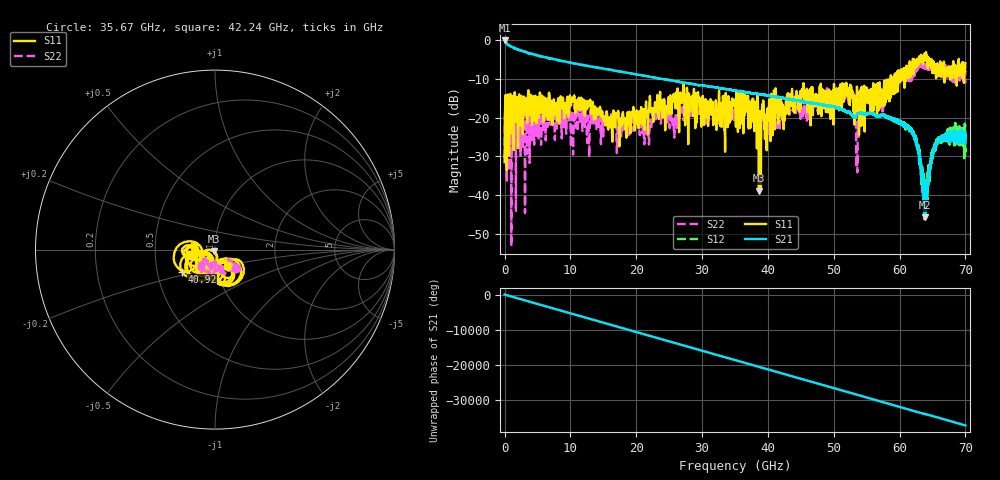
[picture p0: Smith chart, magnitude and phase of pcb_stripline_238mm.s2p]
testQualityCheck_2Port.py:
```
#!/usr/bin/env python3
# -*- coding: utf-8 -*-
"""
Created on Wed Jul  9 17:53:49 2025

@author: dracid
% Copyright (c) 2025, OpenSNPTools authors (See AUTHORS.md)

This is a Python adaptation of Octave code from IEEE 370 code:
https://opensource.ieee.org/elec-char/ieee-370/-/blob/master/TG3/testQualityCheck_2Port.m
% Original MATLAB code copyright (c) 2017, IEEE 370 Open Source Authors (See IEEE370_AUTHORS.md)

SPDX-License-Identifier: BSD-3-Clause
"""

import numpy as np
from fromtouchn import  fromtouchn
from ieee_p370_quality_time_domain import  quality_check
from ieee_p370_quality_freq_domain import  quality_check_frequency_domain

#%% Read Data
# [freq,Sdata,npts] = fromtouchn('./example_touchstone/pcb_stripline_119mm.s2p');
[freq,Sdata,npts] = fromtouchn('./example_touchstone/pcb_stripline_238mm.s2p');

# [freq,Sdata,npts] = fromtouchn('./example_touchstone/CABLE1_TX_pair.s4p');
# [freq,Sdata,npts] = fromtouchn('./example_touchstone/CABLE1_RX_pair.s4p');


# %% Settings
port_num = np.shape(Sdata)[0]; # get numports from the Sparam matrix, assumes all SNP data are square matrices
data_rate = 25.125; #data rate in Gbps
rise_per = 0.4; # rise time - fraction of UI
sample_per_UI = 32;

pulse_shape = 1; #1 is Gaussian; 2 is Rectangular with Butterworth filter; 3 is Rectangular with Gaussian filter;
extrapolation_method = 2; #1 is constant extrapolation; 2 is zero padding;


#%%Time domain checking
# np.set_printoptions(formatter={'float': '{:.6e}'.format}) # makes sure the print happens in scientific notation
# [causality_metric, reciprocity_metric, passivity_metric] = quality_check(freq,Sdata,port_num,data_rate,sample_per_UI,rise_per,pulse_shape,extrapolation_method,1);

# print('\n[causality_metric/2, passivity_metric/2, reciprocity_metric/2]')
# print(causality_metric/2, passivity_metric/2, reciprocity_metric/2)


#%% Frequency domain checking
[causality_metric_freq, reciprocity_metric_freq, passivity_metric_freq] = quality_check_frequency_domain(Sdata,npts,port_num);

print('causality_metric_freq, passivity_metric_freq, reciprocity_metric_freq')
print(causality_metric_freq, passivity_metric_freq, reciprocity_metric_freq)

#%% SCIKIT-RF Checking Frequency domain:
# TODO

#%% SCIKIT-RF Checking Time domain:
# TODO
```
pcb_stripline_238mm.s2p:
! 8/9/2025 3:00:00 PM
! This is a measured stripline on PCB, 238mm in length. Structure: VNA->COAX->stripline->COAX->VNA
! CHANNEL.1
! TR.MEASUREMENT
! CORRECTED.DATA
! RF.CORRECTION: FULL.FOUR.PORT.CAL.PORT.1.2.3.4
! AVERAGING.OFF
! IF.BANDWIDTH: 1KHZ
! SWEEPTYPE:  FREQ.SWEEP(Linear)
! Reference Plane Port Info
! PORT:  PORT1  PORT2
! DISTANCE:  0  m  0  m
! TIME:  0  s  0  s
! PHASE.OFFSET:  0  deg.  0  deg.
! LOSS:  0  dB  0  dB
! REF.LOSS:  0  dB  0  dB
! REF.FREQ:  0  Hz  0  Hz
! Power Info
! POWER:  -10  dBm  -10  dBm
! EFF.POWER:  -10  dBm  -10  dBm
! SOURCE.ATTEN:  0  dB  0  dB
! TEST.ATTEN:  0  dB  0  dB
! PORTZ: Port1:50 Port2:50
# GHZ S RI R 50
! FREQ.GHZ  S11RE  S11IM  S21RE  S21IM  S12RE  S12IM  S22RE  S22IM
!; PortSelection: Port_12 (1-->1,2-->2)
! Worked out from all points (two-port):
!   7000 points, 10 MHz to 70 GHz, reference 50 ohm
!   highest |S21| = -0.21 dB at 10 MHz (marker M1); lowest = -45.6 dB at 63.84 GHz (marker M2)
!   |S21| within 3 dB of the highest: start of sweep to 3.223 GHz
!   lowest |S11| = -38.8 dB at 38.63 GHz (marker M3), VSWR 1.02, Z = 49.5 - j1.01 ohm
!   |S11| at or under -10 dB: start of sweep to 58.65 GHz; 58.70677 GHz to 58.94679 GHz (240 MHz wide, 0.408 % of centre); 59.33211 GHz to 59.50247 GHz (170.4 MHz wide, 0.287 % of centre)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
!   |S22| runs from -53.0 to -5.7 dB; largest |S21 - S12| = 0.045
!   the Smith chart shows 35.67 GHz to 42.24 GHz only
!   S11 on the Smith chart (normalised r, x): 35.67 GHz: 1.13, -0.21; 40.92 GHz: 0.67, -0.18; 42.24 GHz: 0.79, +0.04
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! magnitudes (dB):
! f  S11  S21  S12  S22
! 10 MHz  -31.5  -0.2  -0.2  -30.5
! 35.01 GHz  -17.3  -13.1  -13.1  -18.2
! 35.67 GHz  -18.8  -13.3  -13.2  -16.1
! 38.63 GHz  -38.8  -14.0  -14.0  -19.3
! 40.92 GHz  -13.0  -14.6  -14.6  -17.2
! 42.24 GHz  -18.4  -15.0  -15.0  -18.4
! 52.45 GHz  -16.0  -18.8  -18.5  -14.2
! 53.64 GHz  -14.1  -19.0  -19.1  -23.9
! 61.01 GHz  -6.7  -22.5  -22.1  -10.5
! 63.84 GHz  -4.5  -45.6  -40.2  -6.6
! 70 GHz  -6.0  -25.0  -21.7  -8.3
